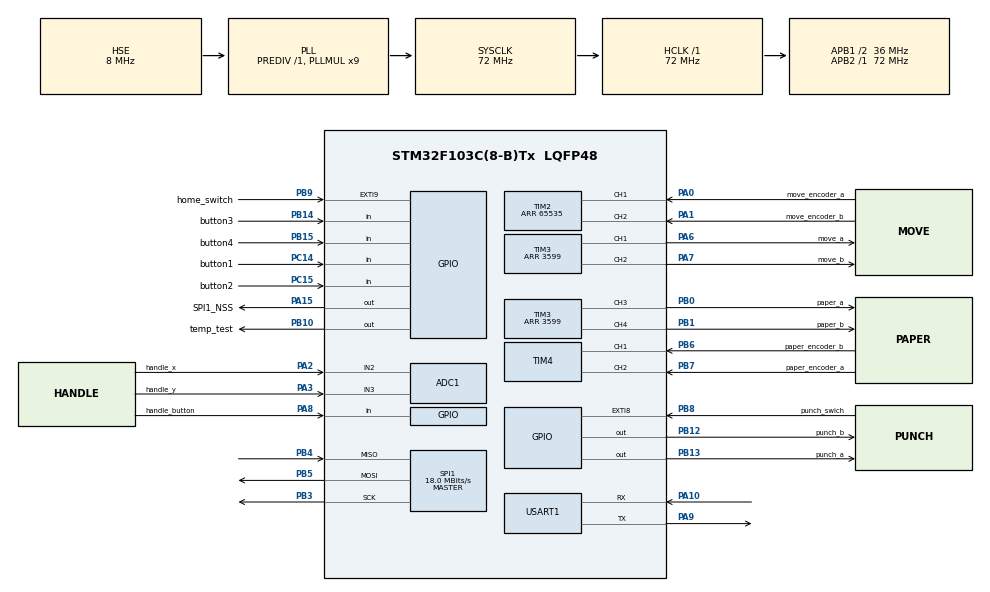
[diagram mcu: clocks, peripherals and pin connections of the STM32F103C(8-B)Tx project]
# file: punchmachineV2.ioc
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ADC1.Channel-0\#ChannelRegularConversion=ADC_CHANNEL_2
ADC1.Channel-1\#ChannelRegularConversion=ADC_CHANNEL_3
ADC1.ContinuousConvMode=ENABLE
ADC1.NbrOfConversion=2
ADC1.NbrOfConversionFlag=1
ADC1.Rank-0\#ChannelRegularConversion=1
ADC1.Rank-1\#ChannelRegularConversion=2
ADC1.SamplingTime-0\#ChannelRegularConversion=ADC_SAMPLETIME_239CYCLES_5
ADC1.SamplingTime-1\#ChannelRegularConversion=ADC_SAMPLETIME_239CYCLES_5
ADC1.master=1
Dma.ADC1.1.Direction=DMA_PERIPH_TO_MEMORY
Dma.ADC1.1.Instance=DMA1_Channel1
Dma.ADC1.1.MemDataAlignment=DMA_MDATAALIGN_HALFWORD
Dma.ADC1.1.MemInc=DMA_MINC_ENABLE
Dma.ADC1.1.Mode=DMA_CIRCULAR
Dma.ADC1.1.PeriphDataAlignment=DMA_PDATAALIGN_HALFWORD
Dma.ADC1.1.PeriphInc=DMA_PINC_DISABLE
Dma.ADC1.1.Priority=DMA_PRIORITY_MEDIUM
Dma.Request0=USART1_RX
Dma.Request1=ADC1
Dma.Request2=USART1_TX
Dma.USART1_RX.0.Direction=DMA_PERIPH_TO_MEMORY
Dma.USART1_RX.0.Instance=DMA1_Channel5
Dma.USART1_RX.0.MemDataAlignment=DMA_MDATAALIGN_BYTE
Dma.USART1_RX.0.MemInc=DMA_MINC_ENABLE
Dma.USART1_RX.0.Mode=DMA_NORMAL
Dma.USART1_RX.0.PeriphDataAlignment=DMA_PDATAALIGN_BYTE
Dma.USART1_RX.0.PeriphInc=DMA_PINC_DISABLE
Dma.USART1_RX.0.Priority=DMA_PRIORITY_MEDIUM
Dma.USART1_TX.2.Direction=DMA_MEMORY_TO_PERIPH
Dma.USART1_TX.2.Instance=DMA1_Channel4
Dma.USART1_TX.2.MemDataAlignment=DMA_MDATAALIGN_BYTE
Dma.USART1_TX.2.MemInc=DMA_MINC_ENABLE
Dma.USART1_TX.2.Mode=DMA_NORMAL
Dma.USART1_TX.2.PeriphDataAlignment=DMA_PDATAALIGN_BYTE
Dma.USART1_TX.2.PeriphInc=DMA_PINC_DISABLE
Dma.USART1_TX.2.Priority=DMA_PRIORITY_MEDIUM
Mcu.Family=STM32F1
Mcu.Name=STM32F103C(8-B)Tx
Mcu.Package=LQFP48
NVIC.DMA1_Channel1_IRQn=true\:3\:1\:true\:false\:true\:false\:true\:true
NVIC.DMA1_Channel4_IRQn=true\:0\:0\:false\:false\:true\:false\:true\:true
NVIC.DMA1_Channel5_IRQn=true\:1\:1\:true\:false\:true\:false\:true\:true
NVIC.EXTI9_5_IRQn=true\:2\:1\:true\:false\:true\:true\:true\:true
NVIC.PVD_IRQn=true\:0\:0\:false\:false\:true\:true\:true\:true
NVIC.PriorityGroup=NVIC_PRIORITYGROUP_2
NVIC.TIM1_UP_IRQn=true\:1\:0\:true\:false\:true\:true\:true\:true
NVIC.USART1_IRQn=true\:1\:1\:true\:false\:true\:true\:true\:true
PA0-WKUP.GPIO_Label=move_encoder_a
PA0-WKUP.Signal=S_TIM2_CH1_ETR
PA1.GPIO_Label=move_encoder_b
PA1.Signal=S_TIM2_CH2
PA10.Mode=Asynchronous
PA10.Signal=USART1_RX
PA13.Mode=Serial_Wire
PA13.Signal=SYS_JTMS-SWDIO
PA14.Mode=Serial_Wire
PA14.Signal=SYS_JTCK-SWCLK
PA15.GPIO_Label=SPI1_NSS
PA15.GPIO_PuPd=GPIO_PULLUP
PA15.GPIO_Speed=GPIO_SPEED_FREQ_HIGH
PA15.PinState=GPIO_PIN_SET
PA15.Signal=GPIO_Output
PA2.GPIO_Label=handle_x
PA2.Signal=ADCx_IN2
PA3.GPIO_Label=handle_y
PA3.Signal=ADCx_IN3
PA6.GPIO_Label=move_a
PA6.Signal=S_TIM3_CH1
PA7.GPIO_Label=move_b
PA7.Signal=S_TIM3_CH2
PA8.GPIO_Label=handle_button
PA8.GPIO_PuPd=GPIO_PULLUP
PA8.Signal=GPIO_Input
PA9.Mode=Asynchronous
PA9.Signal=USART1_TX
PB0.GPIO_Label=paper_a
PB0.Signal=S_TIM3_CH3
PB1.GPIO_Label=paper_b
PB1.Signal=S_TIM3_CH4
PB10.GPIO_Label=temp_test
PB10.GPIO_PuPd=GPIO_PULLDOWN
PB10.GPIO_Speed=GPIO_SPEED_FREQ_HIGH
PB10.PinState=GPIO_PIN_RESET
PB10.Signal=GPIO_Output
PB12.GPIO_Label=punch_b
PB12.GPIO_PuPd=GPIO_PULLDOWN
PB12.GPIO_Speed=GPIO_SPEED_FREQ_HIGH
PB12.Signal=GPIO_Output
PB13.GPIO_Label=punch_a
PB13.GPIO_PuPd=GPIO_PULLDOWN
PB13.GPIO_Speed=GPIO_SPEED_FREQ_HIGH
PB13.Signal=GPIO_Output
PB14.GPIO_Label=button3
PB14.GPIO_PuPd=GPIO_PULLUP
PB14.Signal=GPIO_Input
PB15.GPIO_Label=button4
PB15.GPIO_PuPd=GPIO_PULLUP
PB15.Signal=GPIO_Input
PB3.Mode=Full_Duplex_Master
PB3.Signal=SPI1_SCK
PB4.Mode=Full_Duplex_Master
PB4.Signal=SPI1_MISO
PB5.Mode=Full_Duplex_Master
PB5.Signal=SPI1_MOSI
PB6.GPIO_Label=paper_encoder_b
PB6.Signal=S_TIM4_CH1
PB7.GPIO_Label=paper_encoder_a
PB7.Signal=S_TIM4_CH2
PB8.GPIO_Label=punch_swich
PB8.GPIO_ModeDefaultEXTI=GPIO_MODE_IT_RISING
PB8.GPIO_PuPd=GPIO_PULLUP
PB8.Signal=GPXTI8
PB9.GPIO_Label=home_switch
PB9.GPIO_ModeDefaultEXTI=GPIO_MODE_IT_FALLING
PB9.GPIO_PuPd=GPIO_PULLUP
PB9.Signal=GPXTI9
PC14-OSC32_IN.GPIO_Label=button1
PC14-OSC32_IN.GPIO_PuPd=GPIO_PULLUP
PC14-OSC32_IN.Signal=GPIO_Input
PC15-OSC32_OUT.GPIO_Label=button2
PC15-OSC32_OUT.GPIO_PuPd=GPIO_PULLUP
PC15-OSC32_OUT.Signal=GPIO_Input
PD0-OSC_IN.Mode=HSE-External-Oscillator
PD0-OSC_IN.Signal=RCC_OSC_IN
PD1-OSC_OUT.Mode=HSE-External-Oscillator
PD1-OSC_OUT.Signal=RCC_OSC_OUT
ProjectManager.HeapSize=0x200
ProjectManager.StackSize=0x400
ProjectManager.TargetToolchain=STM32CubeIDE
RCC.ADCPresc=RCC_ADCPCLK2_DIV6
RCC.AHBFreq_Value=72000000
RCC.APB1CLKDivider=RCC_HCLK_DIV2
RCC.APB1Freq_Value=36000000
RCC.APB1TimFreq_Value=72000000
RCC.APB2Freq_Value=72000000
RCC.APB2TimFreq_Value=72000000
RCC.HCLKFreq_Value=72000000
RCC.PLLMUL=RCC_PLL_MUL9
RCC.PLLSourceVirtual=RCC_PLLSOURCE_HSE
RCC.SYSCLKFreq_VALUE=72000000
RCC.SYSCLKSource=RCC_SYSCLKSOURCE_PLLCLK
RCC.USBFreq_Value=72000000
SH.ADCx_IN2.0=ADC1_IN2,IN2
SH.ADCx_IN3.0=ADC1_IN3,IN3
SH.S_TIM2_CH1_ETR.0=TIM2_CH1,Encoder_Interface
SH.S_TIM2_CH2.0=TIM2_CH2,Encoder_Interface
SH.S_TIM3_CH1.0=TIM3_CH1,PWM Generation1 CH1
SH.S_TIM3_CH2.0=TIM3_CH2,PWM Generation2 CH2
SH.S_TIM3_CH3.0=TIM3_CH3,PWM Generation3 CH3
SH.S_TIM3_CH4.0=TIM3_CH4,PWM Generation4 CH4
SH.S_TIM4_CH1.0=TIM4_CH1,Encoder_Interface
SH.S_TIM4_CH2.0=TIM4_CH2,Encoder_Interface
SPI1.BaudRatePrescaler=SPI_BAUDRATEPRESCALER_4
SPI1.CalculateBaudRate=18.0 MBits/s
SPI1.Direction=SPI_DIRECTION_2LINES
SPI1.Mode=SPI_MODE_MASTER
SPI1.VirtualType=VM_MASTER
TIM1.Period=999
TIM1.Prescaler=71
TIM2.EncoderMode=TIM_ENCODERMODE_TI12
TIM2.Period=65535
TIM3.AutoReloadPreload=TIM_AUTORELOAD_PRELOAD_ENABLE
TIM3.Channel-PWM\ Generation1\ CH1=TIM_CHANNEL_1
TIM3.Channel-PWM\ Generation2\ CH2=TIM_CHANNEL_2
TIM3.Channel-PWM\ Generation3\ CH3=TIM_CHANNEL_3
TIM3.Channel-PWM\ Generation4\ CH4=TIM_CHANNEL_4
TIM3.OCFastMode_PWM-PWM\ Generation1\ CH1=TIM_OCFAST_DISABLE
TIM3.Period=3599
TIM4.EncoderMode=TIM_ENCODERMODE_TI12
USART1.VirtualMode=VM_ASYNC
VP_TIM1_VS_ClockSourceINT.Mode=Internal
VP_TIM3_VS_ClockSourceINT.Mode=Internal
board=custom

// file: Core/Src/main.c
/* USER CODE BEGIN Header */
/**
 ******************************************************************************
 * @file           : main.c
 * @brief          : Main program body
 ******************************************************************************
 * @attention
 *
 * Copyright (c) 2026 STMicroelectronics.
 * All rights reserved.
 *
 * This software is licensed under terms that can be found in the LICENSE file
 * in the root directory of this software component.
 * If no LICENSE file comes with this software, it is provided AS-IS.
 *
 ******************************************************************************
 */
/* USER CODE END Header */
#include "main.h"
#include "adc.h"
#include "dma.h"
#include "spi.h"
#include "tim.h"
#include "usart.h"
#include "gpio.h"

/* USER CODE BEGIN Includes */
#include "motor.h"
#include "notes.h"
#include "mcode.h"
#include "homing.h"
#include "handle.h"
#include "system.h"

/* [修改] 累计值空闲保存阈值（调大避免刷屏）：打孔每满 500 次 或 移动每满 5000mm（mm×100=500000）才写 Flash 一次 */
#define PUNCH_SAVE_THRESHOLD  500UL
#define MOVE_SAVE_THRESHOLD   500000UL
#include "flash.h"
#include "w25q32.h"
#include "fileio.h"
#include "autotune.h" /* [新增] 自整定状态机推进（Autotune_Service） */
#include "progress.h"
#include <string.h>  /* [新增] memcpy 串口缓冲拷贝到本地 */
/* USER CODE END Includes */

void SystemClock_Config(void);

/* USER CODE BEGIN 0 */

/* [修改] M80 交互结束回调：请求回零（延后到动作空闲时执行，不打断正在进行中的动作�?? */
void on_batch_end(void) {
	/* [修改] homing 进行中时不重复请求回零（避免当前回零结束后又回零�??次） */
	if (!Homing_IsActive()) {
		homing_request = 1;
	}
	save_config_request = 1; /* [修改] 交互结束保存累计打孔数，掉电不丢（避免只在达到阈值清零时才写 Flash�?? */
}

/* USER CODE END 0 */

int main(void)
{

  /* USER CODE BEGIN 1 */
  /* [修改] 累计值空闲阈值保存的基准（动作空闲时，打孔/移动变化达阈值才写 Flash） */
  static uint32_t last_saved_punch = 0;
  static uint32_t last_saved_move = 0;
  /* USER CODE END 1 */

  /* MCU Configuration--------------------------------------------------------*/

  /* Reset of all peripherals, Initializes the Flash interface and the Systick. */
  HAL_Init();

  /* Configure the system clock */
  SystemClock_Config();

  /* Initialize all configured peripherals */
  MX_GPIO_Init();
  MX_DMA_Init();
  MX_TIM3_Init();
  MX_USART1_UART_Init();
  MX_TIM2_Init();
  MX_TIM1_Init();
  MX_TIM4_Init();
  MX_ADC1_Init();
  MX_SPI1_Init();
  /* USER CODE BEGIN 2 */

	//adc手柄采样
	HAL_ADC_Start_DMA(&hadc1, (uint32_t*) adc_value, 2);

	//移动电机通道
	HAL_TIM_PWM_Start(&htim3, TIM_CHANNEL_1);
	HAL_TIM_PWM_Start(&htim3, TIM_CHANNEL_2);
	//进纸电机通道
	HAL_TIM_PWM_Start(&htim3, TIM_CHANNEL_3);
	HAL_TIM_PWM_Start(&htim3, TIM_CHANNEL_4);

	//移动电机编码�??
	__HAL_TIM_SET_COUNTER(&htim2, 32500);
	HAL_TIM_Encoder_Start(&htim2, TIM_CHANNEL_ALL);
	/* [fix] 上电冲一下：TIM2 上电 CNT=32500，而 last_cnt_move 初始 0，
	   首次 TIM2_UpdateEncoderExtension 会把 move_encoder_ext_count 跳到 32500（pos=32500），
	   此时 move_target_position 被软件限位钳到 0 → err=-32500，电机被驱动冲一下。
	   这里同步 last_cnt_move + 清零 ext_count，让启动 pos=0、err=0，电机不动。 */
	Move_Control_Reset();

	//进纸电机编码�??
	__HAL_TIM_SET_COUNTER(&htim4, 0);
	HAL_TIM_Encoder_Start(&htim4, TIM_CHANNEL_ALL);

	//�??tim1中断
	HAL_TIM_Base_Start_IT(&htim1);

	//面板按键
	panel_button_init();
	//手柄按键
	handle_button_init();

	//小蝌蚪找妈妈
	Home_Init();

	//注册回调函数
	MCodeSimple_Init(Notes_MoveToIndex, Paper_Feed, Punch_Start, system_command,
	NULL,
	on_batch_end); /* [修改] M80 交互结束 �?? 请求回零 */

////////////////////////////////
	/* [W25Q32] 初始�? + 未焊�?测（Storage_Load 双冗余读�?�? w25q32_present�? */
	W25Q32_Init();
	LoadSystemConfig();
	Motor_LoadPIDFromConfig(); /* [新增] 上电从配置加载 PID 参数到 4 个控制器 */
	Encoder_SetFilter(current_config.encoder_filter); /* [新增] 应用编码器数字滤波（S87，默认 15） */
	Notes_SetSwMaxMM100(current_config.software_max); /* [新增] 初始化软件限位脉冲缓存 */
	/* [修复] 恢复 PVD 掉电保存的打孔/移动计数器：
	   页 61 是最后写入的快照（PVD 掉电 / M80 交互结束 / 回零清零时写），比页 63/W25Q32 更新，
	   因此用 last-write-wins 直接覆盖，不用 max()。原 max() 对 punch_total 是错的——
	   punch_total 每满 home_per_points 回零（非单调），回零瞬间掉电时页 61=0、页 63=旧大值，
	   max(0, 旧大值) 会错误恢复到旧大值，导致提前触发 homing、计数错位。 */
	{
		uint32_t saved_punch = 0, saved_move = 0;
		if (Counters_Load(&saved_punch, &saved_move)) {
			current_config.punch_total = saved_punch;
			current_config.move_total = saved_move;
		}
		/* 页 61 空（从未写过）→ 沿用页 63/W25Q32 已加载的值 */
	}
	System_ApplyNoteConfig(); /* [新增] 应用音数+间距配置到 notes，初始化定位 */
	Paper_Set_RollerDiameter_mm(current_config.tick_mul);
	/* [离线] 初始化文件交�? + 断电进度 */
	FileIO_Init();
	Progress_Init();
	Progress_PVDConfig();
	showHelpInfo(); /* [修改] 移到配置加载之后，打印的当前音数才是实际�? */
	/* [修复] 清零上电编码器毛刺累积的脉冲：TIM2 上电瞬间 A/B 相噪声会让 CNT 跳到
	   约 32768（=1.15m），被 TIM2_UpdateEncoderExtension 当成移动距离累加进 move_total。
	   这里在自检/标定（homing）前丢弃，避免每次上电累计行程虚增 1m 多。 */
	move_total_pulses = 0;
	if (current_config.calibrated == 0) {
		FactoryCalib_Start(); /* [修改] 首次烧录（未标定）：出厂标定（标软件限位 + 主轴/进纸死区�?? */
	} else {
		SelfTest_Start(); /* 已标定：�??机自�??（homing �?? 到软件限�?? �?? 回中�?? */
	}

  /* USER CODE END 2 */

  /* Infinite loop */
  /* USER CODE BEGIN WHILE */
	while (1) {
		/* [修复] 音数/间距重算：中断只置标志，主循环执行 Notes_Init（软浮点避免挤爆 1ms 周期） */
		if (notes_recalc_request) {
			notes_recalc_request = 0;
			Notes_Init((float) current_config.home_bias / 100.0f);
		}

		/* [新增] 打印中断里设置的动态文本（SelfTest/FactoryCalib 进度提示），
		   与主循环其它打印统一在这里串行输出，彻底避免并发覆盖 buffer 乱码 */
		if (deferred_print_text) {
			const char *txt = (const char *) deferred_print_text;
			deferred_print_text = NULL;
			USART_printf(&huart1, "%s\n", txt);
		}

		/* [修复] 协议 OK 延迟发送：fileio_ok_cb 在 1ms 中断里只置 deferred_ok，
		   这里在主循环串行发 "OK\n"，不与 USART_printf 的 tx_busy 并发，ACK 不丢 */
		if (deferred_ok) {
			deferred_ok = 0;
			HAL_UART_Transmit(&huart1, (uint8_t*)"OK\n", 3, 0xffffffff);
		}

		/* [autotune] 自整定状态机推进（回零/移动/计算/应用/回传） */
		Autotune_Service();

		/* [修改] S 命令长文本在主循环打印，避免 1ms 中断里阻塞串口发送 */
		if (print_request == PRINT_HELP) {
			print_request = PRINT_NONE;
			showHelpInfo();
		} else if (print_request == PRINT_CONFIG) {
			print_request = PRINT_NONE;
			PrintSystemConfig();
		} else if (print_request == PRINT_W25TEST) {
			/* [存储器] 主循环执行自测，避免 1ms 中断里擦写 Flash 阻塞控制 */
			print_request = PRINT_NONE;
			W25Q32_Init();
			W25Q32_SelfTest();
		} else if (print_request == PRINT_W25ERASE) {
			/* [存储器] 主循环执行全片擦除（约 40s，清空配置/离线文件） */
			print_request = PRINT_NONE;
			W25Q32_Init();
			W25Q32_EraseChip();
			/* [新增] 擦存储器时同步清内部 Flash 的计数器页 + 进度页（用户期望「擦掉存储器=清零」） */
			Counters_Clear();
			Progress_Clear();
			current_config.punch_total = 0;
			current_config.move_total = 0;
			/* [修复] 把清零后的配置写回页 63 + W25Q32：否则重启后 Storage_Load 从页 63
			   读到旧的 punch_total/move_total 复活（S31 只擦了 W25Q32/页61/页62，没擦页 63） */
			SaveSystemConfig();
		} else if (print_request == PRINT_TRAVEL_WARN) {
			/* [新增] 行程不足警告：音数×间距超可用行程，提示用户减小间距或增大行程 */
			print_request = PRINT_NONE;
			PrintTravelWarning();
		}

		/* [离线] 推进执行/回读状态机 */
		FileIO_Service();

		/* [新增] 累计移动距离：把编码器中断累加的 |脉冲| 转 mm*100 累加到 move_total */
		Move_AccumulateDistance();

		/* [修改] 空闲阈值保存（阈值已调大：打孔 500 次 / 移动 500mm，避免刷屏）：
		   动作空闲 + 打孔/移动变化达阈值才写 Flash，作为 PVD 掉电之外的正常断电兜底 */
		if (move_busy == 0 && feed_busy == 0 && punch_busy == 0) {
			uint32_t dp = (current_config.punch_total >= last_saved_punch)
					? (current_config.punch_total - last_saved_punch)
					: (last_saved_punch - current_config.punch_total);
			uint32_t dm = (current_config.move_total >= last_saved_move)
					? (current_config.move_total - last_saved_move)
					: (last_saved_move - current_config.move_total);
			if (dp >= PUNCH_SAVE_THRESHOLD || dm >= MOVE_SAVE_THRESHOLD) {
				last_saved_punch = current_config.punch_total;
				last_saved_move = current_config.move_total;
				save_config_request = 1;
				/* [新增] 同步写计数器环形日志（页 61，逐字编程，掉电恢复用） */
				Counters_Save(current_config.punch_total, current_config.move_total);
			}
		}

		/* [修改] 主循环保存配置请求：累计打孔数清零后掉电保存（避免在 1ms 中断里擦写 Flash） */
		if (save_config_request) {
			save_config_request = 0;
			SaveSystemConfig();
			/* [修复] 同步写计数器页 61，让页 61 与 W25Q32/页 63 的 punch_total/move_total 一致。
			   否则 punch_total 回零后，SaveSystemConfig 已写 0，但页 61 仍是旧大值，
			   上电 max() 恢复会取到旧大值（回零丢失，偏差最多 home_per_points-1） */
			Counters_Save(current_config.punch_total, current_config.move_total);
		}

		if (uart_ok == 1) {
			/* [修改] 逐个消费就绪队列，主循环�? Flash 保存阻塞期间连收两批也不�? */
			while (1) {
				uint8_t idx;
				uint8_t line_copy[UART_RX_BUF_SIZE + 1];
				__disable_irq();
				if (uart_rx_ready_cnt == 0) {
					uart_ok = 0; /* [修复] 临界区内清，防 ISR 在 break 后入队却标志被覆盖滞留一帧 */
					__enable_irq();
					break;
				}
				idx = uart_rx_ready[uart_rx_ready_head];
				uart_rx_ready_head = (uart_rx_ready_head + 1) & 1;
				uart_rx_ready_cnt--;
				/* [修复] 临界区内拷贝到本地，出队后缓冲立即可复用，
				   DMA 只需避开就绪队列即可，不再占用 consuming 槽位（避免无空闲缓冲竞态） */
				memcpy(line_copy, uart_rx_buf[idx], UART_RX_BUF_SIZE + 1);
				__enable_irq();
				/* [离线] 先给 fileio 识别 UPLOAD/END/OK/上传数据；未处理再走 MCode */
				if (FileIO_ProcessLine((char*) line_copy) == 0) {
					MCodeSimple_ProcessBuffer((char*) line_copy);
				}
			}
		}

//		USART_printf(&huart1, "%d,%d\n", paper_target_position, TIM4->CNT);
//				punch_busy);
//		USART_printf(&huart1, "%d,%d\n",Simple_Filter_GetCh1(),Simple_Filter_GetCh2());

//		USART_printf(&huart1, "%d\n",temppp);
    /* USER CODE END WHILE */

	}
}

void SystemClock_Config(void)
{
  RCC_OscInitTypeDef RCC_OscInitStruct = {0};
  RCC_ClkInitTypeDef RCC_ClkInitStruct = {0};
  RCC_PeriphCLKInitTypeDef PeriphClkInit = {0};

  /** Initializes the RCC Oscillators according to the specified parameters
  * in the RCC_OscInitTypeDef structure.
  */
  RCC_OscInitStruct.OscillatorType = RCC_OSCILLATORTYPE_HSE;
  RCC_OscInitStruct.HSEState = RCC_HSE_ON;
  RCC_OscInitStruct.HSEPredivValue = RCC_HSE_PREDIV_DIV1;
  RCC_OscInitStruct.HSIState = RCC_HSI_ON;
  RCC_OscInitStruct.PLL.PLLState = RCC_PLL_ON;
  RCC_OscInitStruct.PLL.PLLSource = RCC_PLLSOURCE_HSE;
  RCC_OscInitStruct.PLL.PLLMUL = RCC_PLL_MUL9;
  if (HAL_RCC_OscConfig(&RCC_OscInitStruct) != HAL_OK)
  {
    Error_Handler();
  }

  /** Initializes the CPU, AHB and APB buses clocks
  */
  RCC_ClkInitStruct.ClockType = RCC_CLOCKTYPE_HCLK|RCC_CLOCKTYPE_SYSCLK
                              |RCC_CLOCKTYPE_PCLK1|RCC_CLOCKTYPE_PCLK2;
  RCC_ClkInitStruct.SYSCLKSource = RCC_SYSCLKSOURCE_PLLCLK;
  RCC_ClkInitStruct.AHBCLKDivider = RCC_SYSCLK_DIV1;
  RCC_ClkInitStruct.APB1CLKDivider = RCC_HCLK_DIV2;
  RCC_ClkInitStruct.APB2CLKDivider = RCC_HCLK_DIV1;

  if (HAL_RCC_ClockConfig(&RCC_ClkInitStruct, FLASH_LATENCY_2) != HAL_OK)
  {
    Error_Handler();
  }
  PeriphClkInit.PeriphClockSelection = RCC_PERIPHCLK_ADC;
  PeriphClkInit.AdcClockSelection = RCC_ADCPCLK2_DIV6;
  if (HAL_RCCEx_PeriphCLKConfig(&PeriphClkInit) != HAL_OK)
  {
    Error_Handler();
  }
}

void Error_Handler(void)
{
	__disable_irq();
	while (1) {
	}
}
